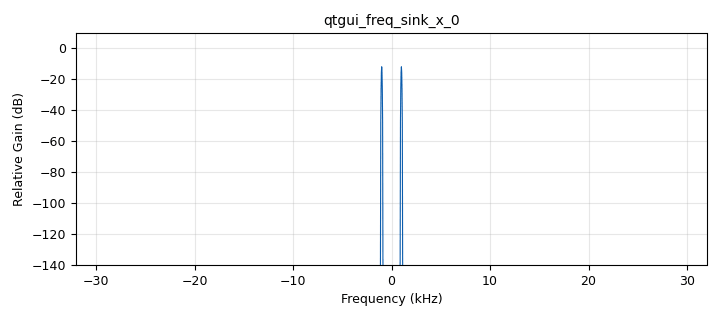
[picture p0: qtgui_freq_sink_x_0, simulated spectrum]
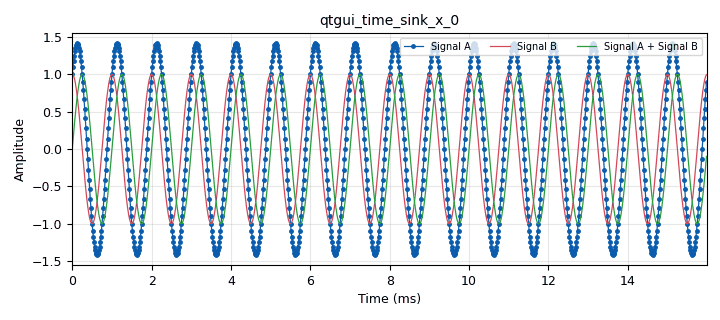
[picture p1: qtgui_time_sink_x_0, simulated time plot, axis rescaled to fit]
options:
  parameters:
    category: Custom
    generate_options: qt_gui
    id: simple_example
    output_language: python
  states: {}

blocks:
- name: amp_a
  id: variable_qtgui_range
  parameters:
    label: 'Signal A Amplitude '
    orient: Qt.Horizontal
    start: '0'
    step: '0.01'
    stop: '100'
    value: '1'
  states: {}
- name: amp_b
  id: variable_qtgui_range
  parameters:
    label: 'Signal B Amplitude '
    orient: Qt.Horizontal
    start: '0'
    step: '0.01'
    stop: '1'
    value: '1'
  states: {}
- name: freq_a
  id: variable_qtgui_range
  parameters:
    label: Signal A Frequency
    orient: Qt.Horizontal
    start: 1e2
    step: '1'
    stop: samp_rate/2
    value: 1e3
  states: {}
- name: freq_b
  id: variable_qtgui_range
  parameters:
    label: Signal B Frequency
    orient: Qt.Horizontal
    start: 1e2
    step: '1'
    stop: samp_rate/2
    value: 1e3
  states: {}
- name: noise
  id: variable_qtgui_range
  parameters:
    label: Noise amplitude
    orient: Qt.Horizontal
    start: '0'
    step: '0.01'
    stop: '1'
    value: '0'
  states: {}
- name: samp_rate
  id: variable
  parameters:
    value: '64000'
  states: {}
- name: analog_noise_source_x_0
  id: analog_noise_source_x
  parameters:
    amp: noise
    noise_type: analog.GR_GAUSSIAN
    seed: '0'
    type: float
  states: {}
- name: analog_noise_source_x_0_0
  id: analog_noise_source_x
  parameters:
    amp: noise
    noise_type: analog.GR_GAUSSIAN
    seed: '0'
    type: float
  states: {}
- name: blocks_add_xx_0
  id: blocks_add_xx
  parameters:
    type: float
  states: {}
- name: blocks_add_xx_0_0
  id: blocks_add_xx
  parameters:
    type: float
  states: {}
- name: blocks_add_xx_0_0_0
  id: blocks_add_xx
  parameters:
    type: float
  states: {}
- name: blocks_throttle_0
  id: blocks_throttle
  parameters:
    samples_per_second: samp_rate
    type: float
  states: {}
- name: qtgui_freq_sink_x_0
  id: qtgui_freq_sink_x
  parameters:
    bw: samp_rate
    ctrlpanel: 'True'
    fc: '0'
    fftsize: '2048'
    gui_hint: tab@1
    showports: 'True'
    type: float
    wintype: firdes.WIN_BLACKMAN_hARRIS
  states: {}
- name: qtgui_time_sink_x_0
  id: qtgui_time_sink_x
  parameters:
    ctrlpanel: 'True'
    gui_hint: tab@0
    label1: Signal A
    label2: Signal B
    label3: Signal A + Signal B
    marker1: '2'
    name: ''
    nconnections: '3'
    size: '1024'
    srate: samp_rate
    type: float
  states: {}
- name: signal_A
  id: analog_sig_source_x
  parameters:
    amp: amp_a
    freq: freq_a
    offset: '0'
    phase: '0'
    samp_rate: samp_rate
    type: float
    waveform: analog.GR_COS_WAVE
  states: {}
- name: signal_B
  id: analog_sig_source_x
  parameters:
    amp: amp_b
    freq: freq_b
    offset: '0'
    phase: '0'
    samp_rate: samp_rate
    type: float
    waveform: analog.GR_SIN_WAVE
  states: {}
- name: tab
  id: qtgui_tab_widget
  parameters:
    label0: Time Domain
    label1: Frequency Domain
    num_tabs: '2'
  states: {}

connections:
- [analog_noise_source_x_0, '0', blocks_add_xx_0_0, '1']
- [analog_noise_source_x_0_0, '0', blocks_add_xx_0_0_0, '1']
- [blocks_add_xx_0, '0', qtgui_freq_sink_x_0, '0']
- [blocks_add_xx_0, '0', qtgui_time_sink_x_0, '0']
- [blocks_add_xx_0_0, '0', blocks_add_xx_0, '0']
- [blocks_add_xx_0_0, '0', qtgui_time_sink_x_0, '1']
- [blocks_add_xx_0_0_0, '0', blocks_add_xx_0, '1']
- [blocks_add_xx_0_0_0, '0', blocks_throttle_0, '0']
- [blocks_throttle_0, '0', qtgui_time_sink_x_0, '2']
- [signal_A, '0', blocks_add_xx_0_0, '0']
- [signal_B, '0', blocks_add_xx_0_0_0, '0']

metadata:
  file_format: 1
